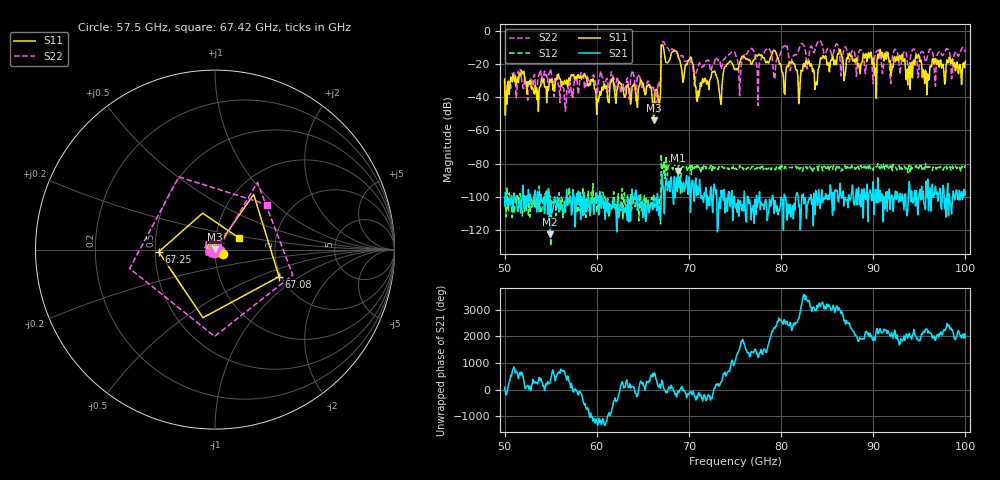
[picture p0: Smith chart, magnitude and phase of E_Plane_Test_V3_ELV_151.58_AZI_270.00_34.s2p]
! 11/26/2026 4:22:08 PM
! C:\ANRITSUVNA\TEMP\TEMP.S2P
! CHANNEL.1
! TR.MEASUREMENT
! RAW.DATA
# HZ S RI R 50.0
! FREQ.HZ  S11RE  S11IM  S21RE  S21IM  S12RE  S12IM  S22RE  S22IM
!; PortSelection: Port_12
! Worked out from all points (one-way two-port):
!   601 points, 50 GHz to 100 GHz, reference 50 ohm
!   highest |S21| = -84.39 dB at 68.83 GHz (marker M1); lowest = -122.8 dB at 54.92 GHz (marker M2)
!   lowest |S11| = -53.8 dB at 66.17 GHz (marker M3), VSWR 1.00, Z = 50.1 + j0.149 ohm
!   |S11| at or under -10 dB: start of sweep to 67 GHz; 67.25 GHz to end of sweep
!   |S22| runs from -48.3 to -5.6 dB; largest |S21 - S12| = 0.00021
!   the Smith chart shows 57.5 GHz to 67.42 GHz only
!   S11 on the Smith chart (normalised r, x): 57.5 GHz: 1.09, -0.05; 67.08 GHz: 1.95, -0.69; 67.25 GHz: 0.52, -0.01; 67.42 GHz: 1.29, +0.17
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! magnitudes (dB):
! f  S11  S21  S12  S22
! 50 GHz  -28.9  -105.5  -100.4  -35.6
! 54.92 GHz  -28.9  -122.8  -99.6  -24.2
! 57.5 GHz  -26.1  -99.5  -99.8  -34.6
! 58.42 GHz  -27.2  -102.1  -99.6  -24.7
! 60.17 GHz  -42.7  -100.3  -105.3  -30.4
! 66.17 GHz  -53.8  -105.7  -98.2  -34.0
! 66.67 GHz  -41.5  -107.0  -105.8  -31.6
! 67.08 GHz  -8.2  -86.5  -84.1  -6.8
! 67.25 GHz  -10.1  -96.4  -85.8  -6.2
! 67.42 GHz  -16.6  -95.0  -89.0  -8.3
! 68.83 GHz  -15.5  -84.4  -82.5  -15.1
! 70.25 GHz  -15.9  -95.9  -86.5  -18.8
! 70.92 GHz  -42.5  -93.6  -82.5  -23.2
! 75 GHz  -23.3  -105.8  -83.0  -13.0
! 79.25 GHz  -11.5  -110.2  -83.0  -28.9
! 80.25 GHz  -27.8  -120.5  -82.2  -9.3
! 83.42 GHz  -24.4  -101.6  -85.4  -10.8
! 91.67 GHz  -16.6  -101.3  -83.0  -15.2
! 93.75 GHz  -32.5  -108.2  -85.6  -21.3
! 94.83 GHz  -15.1  -111.1  -82.2  -27.9
! 95.83 GHz  -38.4  -100.5  -83.5  -16.5
! 100 GHz  -18.0  -96.8  -80.8  -12.6
